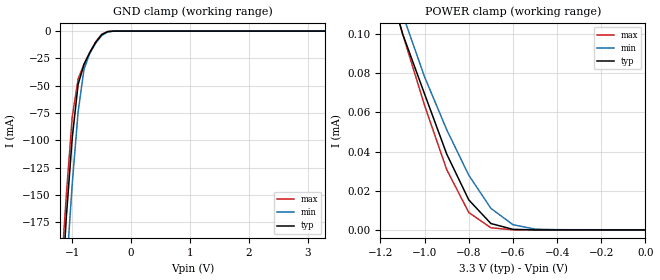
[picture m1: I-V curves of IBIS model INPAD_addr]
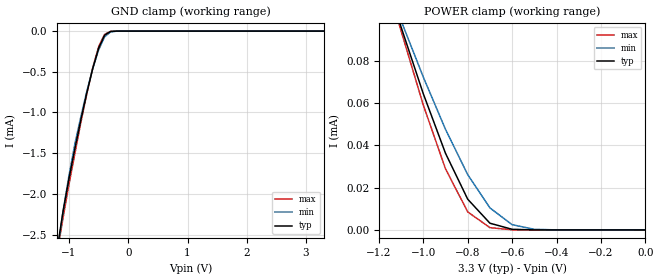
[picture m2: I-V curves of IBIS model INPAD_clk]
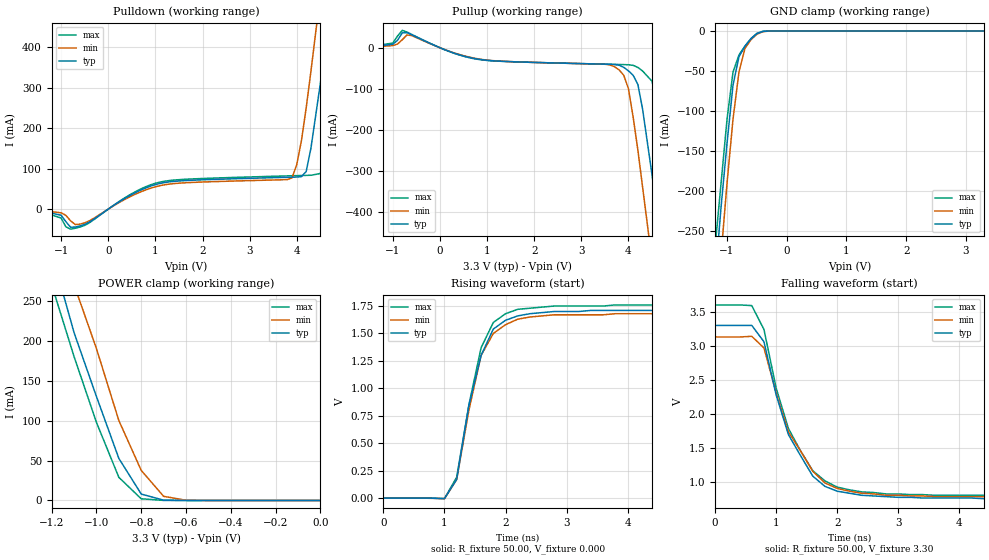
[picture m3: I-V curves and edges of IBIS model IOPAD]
| IBIS file 1372cv33.ibs created by s2ibis2 version 1.1
| North Carolina State University Electronics Research Laboratory  1995
[IBIS ver]   2.1
[File name]   1372cv33.ibs
[File Rev]   1
[Date]   December, 2002
[Notes]   These models are derived for 3.3V operation. temperature
   range is -0 to +70 degrees Celcius. output buffer model.
[Disclaimer]   This information is for modeling purposes only and is not
   guaranteed.
[Copyright]   Copyright Cypress Semiconductor, Inc. 2002
|   Component 1372C_119bga
[Component]   1372C_119bga
[Manufacturer]   Cypress Semiconductor
[Package]
| variable   typ   min   max
R_pkg   91.00m   57.00m   143.00m
L_pkg   3.79nH   2.87nH   5.72nH
C_pkg   1.02pF   0.53pF   1.90pF
[Pin]	signal_name	model_name	R_pin	L_pin	C_pin
	A1	VDDQ	POWER
	A2	A   INPAD_addr
	A3	A	INPAD_addr
	A4	A	INPAD_addr
	A5	A	INPAD_addr
	A6	A	INPAD_addr
	A7	VDDQ  POWER
	B1	NC	NC
	B2	CE2	INPAD_addr
	B3	A	INPAD_addr
	B4	ADV/LD/	INPAD_addr
	B5	A	INPAD_addr
	B6	CE3/	INPAD_addr
   B7   NC 	NC
	C1	NC	NC
	C2	A	INPAD_addr
	C3	A	INPAD_addr
	C4	Vdd	POWER
	C5	A	INPAD_addr
	C6	A	INPAD_addr
	C7	NC	NC
	D1	DQb	IOPAD
	D2	NC	NC
	D3	VSS	GND
	D4	NC	NC
	D5	VSS	GND
	D6	DPa	IOPAD
	D7	NC	NC
	E1	NC	NC
	E2	DQb	IOPAD
	E3	VSS	GND
	E4	CE1/	INPAD_addr
	E5	VSS	GND
	E6	NC	NC
	E7	DQa	IOPAD
	F1	Vddq	POWER
	F2	NC	NC
	F3	VSS	GND
	F4	OE/	INPAD_addr
	F5	VSS	GND
	F6	DQa	IOPAD
	F7	Vddq	POWER
	G1	NC	NC
	G2	DQb	IOPAD
	G3	BWB/	INPAD_addr
	G4	A	INPAD_addr
	G5	VSS	GND
	G6	NC	NC
	G7	DQa	IOPAD
	H1	DQb	IOPAD
	H2	NC	NC
	H3	VSS	GND
	H4	WE/	INPAD_addr
	H5	VSS	GND
	H6	DQa	IOPAD
	H7	NC	NC
	J1	Vddq	POWER
	J2	Vdd	POWER
	J3	NC	NC
	J4	Vdd	POWER
	J5	NC	NC
	J6	Vdd	POWER
	J7	Vddq	POWER
	K1	NC	NC
	K2	DQb   IOPAD
	K3	VSS	GND
	K4	CLK	INPAD_clk
	K5	VSS	GND
	K6	NC   NC
	K7	DQa	IOPAD
	L1	DQb	IOPAD
	L2	NC	NC
	L3	VSS	GND
	L4	NC	NC
	L5	BWA/	INPAD_addr
	L6	DQa	IOPAD
	L7	NC	NC
	M1	Vddq	POWER
	M2	DQb	IOPAD
	M3	VSS	GND
	M4	CEN/	INPAD_addr
	M5	VSS	GND
	M6	NC	NC
	M7	Vddq	POWER
	N1	DQB	IOPAD
	N2	NC	NC
	N3	VSS	GND
	N4	A1	INPAD_addr
	N5	VSS	GND
	N6	DQa	IOPAD
	N7	NC	NC
	P1	NC	NC
	P2	DPb	IOPAD
	P3	VSS	GND
	P4	A0	INPAD_addr
	P5	VSS	GND
	P6	NC	NC
	P7	DQa	IOPAD
	R1	NC	NC
	R2	A	INPAD_addr
	R3	MODE	INPAD_addr
	R4	Vdd	POWER
	R5	NC	NC
	R6	A	INPAD_addr
	R7	NC	NC
	T1	NC	NC
	T2	A	INPAD_addr
	T3	A	INPAD_addr
	T4	NC	NC
	T5	A	INPAD_addr
	T6	A	INPAD_addr
	T7	ZZ	INPAD_addr
	U1	Vddq	POWER
	U2	TMS	INPAD_addr
	U3	TDI	INPAD_addr
	U4	TCK	INPAD_addr
	U5	TDO	IOPAD
	U6	NC	NC
	U7	Vddq	POWER
|   Component 1372C_165fbga
[Component]   1372C_165fbga
[Manufacturer]   Cypress Semiconductor
[Package]
| variable   typ   min   max
R_pkg   0.0218   0.0089   0.247
L_pkg   4.71nH   1.96nH   5.9nH
C_pkg   0.427pF   0.2255pF   2.723pF
[Pin]  signal_name   model_name   R_pin   L_pin   C_pin
A1   NC   NC
B1   NC   NC
C1   NC   NC
D1   NC   NC
E1   NC   NC
F1   NC   NC
G1   NC   NC
H1   NC   NC
J1   DQB   IOPAD
K1   DQB   IOPAD
L1   DQB   IOPAD
M1   DQB   IOPAD
N1   DPB   IOPAD
P1   NC   NC
R1   MODE   INPAD_addr
A2   A   INPAD_addr
B2   A   INPAD_addr
C2   NC   NC
D2   DQB   IOPAD
E2   DQB   IOPAD
F2   DQB   IOPAD
G2   DQB   IOPAD
H2   VDD   POWER
J2   NC   NC
K2   NC   NC
L2   NC   NC
M2   NC   NC
N2   NC   NC
P2   NC   NC
R2   NC   NC
A3   CE1/   INPAD_addr
B3   CE2   INPAD_addr
C3   VDDQ   POWER
D3   VDDQ   POWER
E3   VDDQ   POWER
F3   VDDQ   POWER
G3   VDDQ   POWER
H3   NC   NC
J3   VDDQ   POWER
K3   VDDQ   POWER
L3   VDDQ   POWER
M3   VDDQ   POWER
N3   VDDQ   POWER
P3   A   INPAD_addr
R3   A   INPAD_addr
A4   BWSB/   INPAD_addr
B4   NC   NC
C4   VSS   GND
D4   VDD   POWER
E4   VDD   POWER
F4   VDD   POWER
G4   VDD   POWER
H4   VDD   POWER
J4   VDD   POWER
K4   VDD   POWER
L4   VDD   POWER
M4   VDD   POWER
N4   VSS   GND
P4   A   INPAD_addr
R4   A   INPAD_addr
A5   NC   NC
B5   BWSA/   INPAD_addr
C5   VSS   GND
D5   VSS   GND
E5   VSS   GND
F5   VSS   GND
G5   VSS   GND
H5   VSS   GND
J5   VSS   GND
K5   VSS   GND
L5   VSS   GND
M5   VSS   GND
N5   NC   NC
P5   TDI   INPAD_addr
R5   TMS   INPAD_addr
A6   CE3/   INPAD_addr
B6   CLK   INPAD_clk
C6   VSS   GND
D6   VSS   GND
E6   VSS   GND
F6   VSS   GND
G6   VSS   GND
H6   VSS   GND
J6   VSS   GND
K6   VSS   GND
L6   VSS   GND
M6   VSS   GND
N6   NC   NC
P6   A1   INPAD_addr
R6   A0   INPAD_addr
A7   CEN/   INPAD_addr
B7   WE/   INPAD_addr
C7   VSS   GND
D7   VSS   GND
E7   VSS   GND
F7   VSS   GND
G7   VSS   GND
H7   VSS   GND
J7   VSS   GND
K7   VSS   GND
L7   VSS   GND
M7   VSS   GND
N7   NC   NC
P7   TDO   IOPAD
R7   TCK   INPAD_addr
A8   ADV/LD/   INPAD_addr
B8   OE/   INPAD_addr
C8   VSS   GND
D8   VDD   POWER
E8   VDD   POWER
F8   VDD   POWER
G8   VDD   POWER
H8   VDD   POWER
J8   VDD   POWER
K8   VDD   POWER
L8   VDD   POWER
M8   VDD   POWER
N8   VSS   GND
P8   A   INPAD_addr
R8   A   INPAD_addr
A9   A   INPAD_addr
B9   A   INPAD_addr
C9   VDDQ   POWER
D9   VDDQ   POWER
E9   VDDQ   POWER
F9   VDDQ   POWER
G9   VDDQ   POWER
H9   NC   NC
J9   VDDQ   POWER
K9   VDDQ   POWER
L9   VDDQ   POWER
M9   VDDQ   POWER
N9   VDDQ   POWER
P9   A   INPAD_addr
R9   A   INPAD_addr
A10   A   INPAD_addr
B10   A   INPAD_addr
C10   NC   NC
D10   NC   NC
E10   NC   NC
F10   NC   NC
G10   NC   NC
H10   NC   NC
J10   DQA   IOPAD
K10   DQA   IOPAD
L10   DQA   IOPAD
M10   DQA   IOPAD
N10   NC   NC
P10   A   INPAD_addr
R10   A   INPAD_addr
A11   A   INPAD_addr
B11   NC   NC
C11   DPA   IOPAD
D11   DQB   IOPAD
E11   DQB   IOPAD
F11   DQB   IOPAD
G11   DQB   IOPAD
H11   ZZ   INPAD_addr
J11   NC   NC
K11   NC   NC
L11   NC   NC
M11   NC   NC
N11   NC   NC
P11   NC   NC
R11   A   INPAD_addr
|   Component 1372C_100tqfp
[Component]   1372C_100tqfp
[Manufacturer]   Cypress Semiconductor
[Package]
|	typ	min	max
R_pkg	55.0m	45.0m	60.0m
L_pkg	6.0nH	5.0nH	7.0nH
C_pkg	2.2pF	2.0pF	2.5pF
[Pin]  signal_name   model_name   R_pin   L_pin   C_pin
	1	NC	NC
	2	NC	NC
	3	NC	NC
	4	VCCQ	POWER
	5	VSS	GND
	6	NC	NC
	7	NC	NC
	8	DQb	IOPAD
	9	DQb	IOPAD
	10	VSS	GND
	11	VCCQ	POWER
	12	DQb	IOPAD
	13	DQb	IOPAD
   14   NC   NC
	15	VCC	POWER
	16	NC	NC
	17	VSS	GND
	18	DQb	IOPAD
	19	DQb	IOPAD
	20	VCCQ	POWER
	21	VSS	GND
	22	DQb	IOPAD
	23	DQb	IOPAD
	24	DPb	IOPAD
	25	NC	NC
	26	VSS	IOPAD
	27	VCCQ	POWER
	28	NC	NC
	29	NC	NC
	30	NC	NC
	31	MODE	INPAD_addr
	32	A	INPAD_addr
	33	A	INPAD_addr
	34	A	INPAD_addr
	35	A	INPAD_addr
	36	A1	INPAD_addr
	37	A0	INPAD_addr
	38	NC	NC
	39	NC	NC
	40	VSS	GND
	41	VCC	POWER
	42	NC	NC
	43	NC	NC
	44	A	INPAD_addr
	45	A	INPAD_addr
	46	A	INPAD_addr
	47	A	INPAD_addr
	48	A	INPAD_addr
	49	A	INPAD_addr
	50	A	INPAD_addr
	51	NC	NC
	52	NC	NC
	53	NC	NC
	54	VCCQ	POWER
	55	VSS	GND
	56	NC	NC
	57	NC	NC
	58	DQa	IOPAD
	59	DQa	IOPAD
	60	VSS	GND
	61	VCCQ	POWER
	62	DQa	IOPAD
	63	DQa	IOPAD
	64	ZZ	INPAD_addr
	65	VCC	POWER
	66	NC	NC
	67	VSS	GND
	68	DQa	IOPAD
	69	DQa	IOPAD
	70	VCCQ	POWER
	71	VSS	GND
	72	DQa	IOPAD
	73	DQa	IOPAD
	74	DPa	IOPAD
	75	NC	NC
	76	VSS	GND
	77	VCCQ	POWER
	78	NC	NC
	79	NC	NC
	80	A	INPAD_addr
	81	A	INPAD_addr
	82	A	INPAD_addr
	83	A	INPAD_addr
	84	A	INPAD_addr
	85	ADV/LD	INPAD_addr
	86	/OE	INPAD_addr
	87	/CEN	INPAD_addr
	88	/WE	INPAD_addr
	89	CLK	INPAD_clk
	90	VSS	GND
	91	VCC	POWER
	92	/CE3	INPAD_addr
	93	/BWa	INPAD_addr
	94	/BWb	INPAD_addr
	95	NC	NC
	96	NC	NC
	97	CE2	INPAD_addr
	98	/CE1	INPAD_addr
	99	A	INPAD_addr
	100	A	INPAD_addr
| Models and submodels in the file (3): INPAD_addr (Input), INPAD_clk (Input), IOPAD (I/O)
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|   Model INPAD_addr
[Model]   INPAD_addr
Model_type   Input
C_comp   2.00pF   1.00pF   3.00pF
Vinl=0.8V
Vinh=2.0V
[Temperature Range]   25.00   70.00   0.000
[Voltage Range]   3.30V   3.13V   3.60V
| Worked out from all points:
|   GND clamp passes 1 mA (typ) near -0.42 V on its own axis
|   POWER clamp passes 1 mA (typ) near -3.30 V on its own axis
[GND_clamp]
| voltage   I(typ)   I(min)   I(max)
-3.3V     -2.28A     -2.33A     -2.26A
-1.2V     -260mA     -310mA     -230mA
-1.1V     -170mA     -220mA     -150mA
-1V       -97.86mA   -140mA     -78.51mA
-900mV    -48.73mA   -73.86mA   -43.83mA
-800mV    -30.48mA   -34.96mA   -30.31mA
-700mV    -19.52mA   -20.18mA   -19.29mA
-600mV    -10.17mA   -10.94mA   -9.66mA
-500mV    -3.36mA    -4.17mA    -2.88mA
-400mV    -500uA     -840uA     -350uA
-300mV    -36.42uA   -90.51uA   -19.19uA
3.3V      190nA      290nA      180nA
[POWER_clamp]
| voltage   I(typ)   I(min)   I(max)
-3.3V     1mA        840uA      1.12mA
-1.2V     140uA      140uA      140uA
-1.1V     100uA      110uA      100uA
-1V       69.28uA    77.97uA    63.46uA
-900mV    38.79uA    51.17uA    30.84uA
-800mV    15.46uA    28.02uA    9.06uA
-700mV    3.45uA     11.18uA    1.28uA
-600mV    490nA      2.84uA     240nA
-500mV    210nA      600nA      200nA
0V        190nA      290nA      180nA
|   Model INPAD_clk
[Model]   INPAD_clk
Model_type   Input
C_comp   2.00pF   1.00pF   3.00pF
Vinl=0.8V
Vinh=2.0V
[Temperature Range]   25.00   70.00   0.000
[Voltage Range]   3.30V   3.13V   3.60V
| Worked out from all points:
|   GND clamp passes 1 mA (typ) near -0.77 V on its own axis
[GND_clamp]
| voltage   I(typ)   I(min)   I(max)
-3.3V     -16.4mA    -15.27mA   -17.19mA
-1.2V     -2.68mA    -2.72mA    -2.73mA
-1.1V     -2.21mA    -2.21mA    -2.29mA
-1V       -1.81mA    -1.77mA    -1.88mA
-900mV    -1.44mA    -1.38mA    -1.5mA
-700mV    -760uA     -740uA     -770uA
-600mV    -460uA     -460uA     -450uA
-500mV    -210uA     -230uA     -190uA
-400mV    -50.44uA   -70.76uA   -39.42uA
-300mV    -5.09uA    -10.51uA   -3.07uA
-200mV    -310nA     -900nA     -160nA
3.3V      110nA      120nA      110nA
[POWER_clamp]
| voltage   I(typ)   I(min)   I(max)
-3.3V     920uA      780uA      1.03mA
-1.1V     95.93uA    98.92uA    94.13uA
-1V       64.43uA    72.31uA    59.1uA
-900mV    36.31uA    47.62uA    28.97uA
-800mV    14.63uA    26.22uA    8.64uA
-700mV    3.29uA     10.52uA    1.19uA
-600mV    420nA      2.6uA      180nA
-500mV    140nA      420nA      130nA
0V        110nA      120nA      120nA
|   Model IOPAD
[Model]   IOPAD
Model_type   I/O
Polarity   Inverting
Enable   Active-High
Vmeas = 1.5V
Rref= 50
Cref= 5pf
Vref= 1.5
C_comp   2.00pF   1.00pF   3.00pF
Vinl=0.8V
Vinh=2.0V
[Temperature Range]   25.00   70.00   0.000
[Voltage Range]   3.30V   3.13V   3.60V
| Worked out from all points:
|   slope of the pulldown table from 0 to 0.495 V, typ, clamps not added: 13.8 ohm
|   slope of the pullup table from 0 to 0.495 V, typ, clamps not added: 24.8 ohm
|   GND clamp passes 1 mA (typ) near -0.42 V on its own axis
|   POWER clamp passes 1 mA (typ) near -0.71 V on its own axis
|   rising waveform, R_fixture 50.00, V_fixture 0.000: 20-80 % time 405ps typ, 391ps min, 384ps max; typ from 0 V to 1.71 V
|   falling waveform, R_fixture 50.00, V_fixture 3.30: 20-80 % time 613ps typ, 646ps min, 617ps max; typ from 3.3 V to 0.76 V
[Pulldown]
| voltage   I(typ)   I(min)   I(max)
-3.3V     -2mA       -2mA       -1mA
-1.5V     -2.9mA     -2.5mA     -3.2mA
-800mV    -44.73mA   -28.87mA   -49.46mA
1.1V      63.55mA    58.01mA    66.89mA
3.9V      78.96mA    77.33mA    82.43mA
4.2V      93.02mA    250mA      83.38mA
4.3V      150mA      340mA      83.7mA
4.5V      310mA      530mA      87.81mA
4.7V      500mA      710mA      190mA
4.9V      690mA      910mA      370mA
5.1V      880mA      1.1A       560mA
6.6V      2.35A      2.57A      2.03A
[Pullup]
| voltage   I(typ)   I(min)   I(max)
-3.3V     1mA        1mA        0A
-800mV    36.28mA    19.46mA    42.35mA
800mV     -27.69mA   -26.9mA    -28.19mA
3.6V      -40.3mA    -41.67mA   -40.31mA
3.9V      -47.83mA   -67.21mA   -41.11mA
4.1V      -67.21mA   -170mA     -42.93mA
4.3V      -150mA     -340mA     -56.69mA
4.5V      -310mA     -520mA     -81.69mA
4.7V      -490mA     -710mA     -190mA
4.9V      -680mA     -900mA     -370mA
5.1V      -870mA     -1.09A     -560mA
6.6V      -2.33A     -2.55A     -2.01A
[GND_clamp]
| voltage   I(typ)   I(min)   I(max)
-3.3V     -2.33A     -2.39A     -2.3A
-1.2V     -310mA     -370mA     -270mA
-1.1V     -220mA     -280mA     -190mA
-1V       -140mA     -190mA     -110mA
-900mV    -67.39mA   -110mA     -51.29mA
-800mV    -32.03mA   -50.99mA   -29.9mA
-700mV    -19.09mA   -21.8mA    -18.75mA
-600mV    -9.89mA    -10.79mA   -9.38mA
-500mV    -3.27mA    -4.07mA    -2.8mA
-400mV    -490uA     -820uA     -340uA
-300mV    -35.09uA   -87.62uA   -18.47uA
3.3V      170nA      270nA      140nA
[POWER_clamp]
| voltage   I(typ)   I(min)   I(max)
-3.3V     2.35A      2.41A      2.32A
-1.2V     310mA      370mA      270mA
-1.1V     210mA      270mA      180mA
-1V       130mA      190mA      97.65mA
-900mV    52.64mA    100mA      28.92mA
-800mV    8.05mA     37.63mA    2.13mA
-700mV    410uA      5.21mA     95.05uA
-600mV    25.74uA    320uA      6.91uA
0V        170nA      240nA      180nA
[Ramp]
| variable   typ   min   max
dV/dt_r   1.03/0.36n   1.01/0.34n   1.06/0.34n
dV/dt_f   1.52/0.55n   1.41/0.58n   1.68/0.55n
R_load = 50.00
[Rising Waveform]
R_fixture = 50.00
V_fixture = 0.000
V_fixture_min = 0.000
V_fixture_max = 0.000
| time   V(typ)   V(min)   V(max)
0s        2.2uV      2.39uV     2.21uV
1ns       -4.77mV    -5.34mV    -4.08mV
1.2ns     170mV      170mV      190mV
1.4ns     840mV      800mV      850mV
1.6ns     1.3V       1.3V       1.37V
1.8ns     1.54V      1.5V       1.6V
2ns       1.62V      1.58V      1.68V
2.2ns     1.66V      1.63V      1.72V
3.4ns     1.71V      1.67V      1.75V
10ns      1.71V      1.68V      1.76V
[Falling Waveform]
R_fixture = 50.00
V_fixture = 3.30
V_fixture_min = 3.13
V_fixture_max = 3.60
| time   V(typ)   V(min)   V(max)
0s        3.3V       3.13V      3.6V
600ps     3.3V       3.14V      3.59V
800ps     3.06V      2.97V      3.24V
1ns       2.28V      2.31V      2.38V
1.2ns     1.7V       1.74V      1.79V
1.6ns     1.09V      1.16V      1.17V
1.8ns     940mV      990mV      1.02V
2ns       870mV      910mV      930mV
3.6ns     770mV      790mV      810mV
10ns      760mV      780mV      810mV
